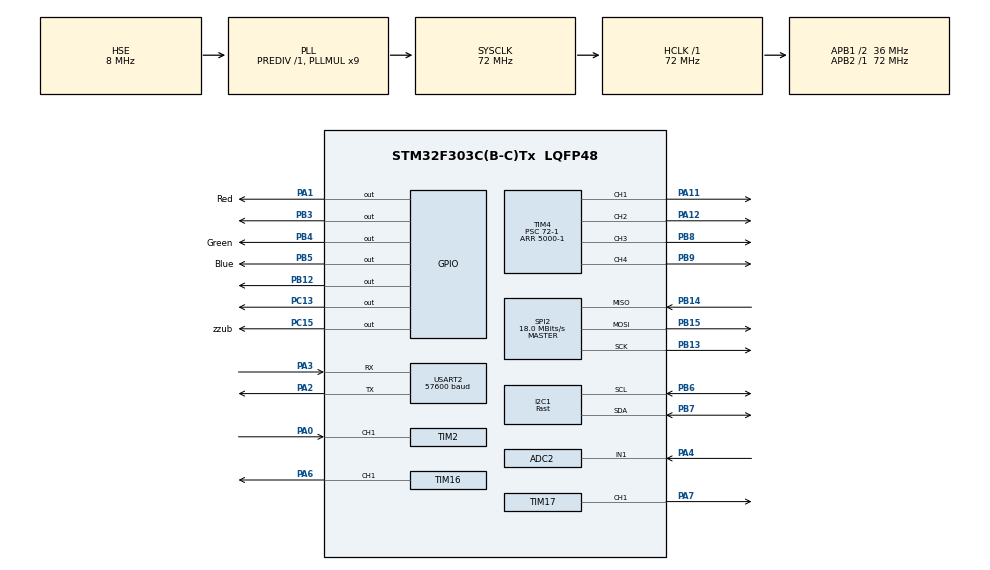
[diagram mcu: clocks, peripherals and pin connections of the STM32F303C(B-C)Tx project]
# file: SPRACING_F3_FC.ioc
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ADC2.Channel-0\#ChannelRegularConversion=ADC_CHANNEL_1
ADC2.ClockPrescaler=ADC_CLOCK_SYNC_PCLK_DIV4
ADC2.NbrOfConversion=1
ADC2.NbrOfConversionFlag=1
ADC2.Offset-0\#ChannelRegularConversion=0
ADC2.OffsetNumber-0\#ChannelRegularConversion=ADC_OFFSET_NONE
ADC2.Rank-0\#ChannelRegularConversion=1
ADC2.SamplingTime-0\#ChannelRegularConversion=ADC_SAMPLETIME_1CYCLE_5
I2C1.I2C_Speed_Mode=I2C_Fast
I2C1.Timing=0x0000020B
Mcu.Family=STM32F3
Mcu.Name=STM32F303C(B-C)Tx
Mcu.Package=LQFP48
NVIC.PriorityGroup=NVIC_PRIORITYGROUP_4
NVIC.TIM2_IRQn=true\:0\:0\:false\:false\:true\:true\:true
PA0.Signal=S_TIM2_CH1_ETR
PA1.GPIO_Label=Red
PA1.Signal=GPIO_Output
PA11.Signal=S_TIM4_CH1
PA12.Signal=S_TIM4_CH2
PA13.Mode=Serial_Wire
PA13.Signal=SYS_JTMS-SWDIO
PA14.Mode=Serial_Wire
PA14.Signal=SYS_JTCK-SWCLK
PA2.Mode=Asynchronous
PA2.Signal=USART2_TX
PA3.Mode=Asynchronous
PA3.Signal=USART2_RX
PA4.Mode=IN1-Single-Ended
PA4.Signal=ADC2_IN1
PA6.Signal=S_TIM16_CH1
PA7.Signal=S_TIM17_CH1
PB12.Signal=GPIO_Output
PB13.Mode=Full_Duplex_Master
PB13.Signal=SPI2_SCK
PB14.Mode=Full_Duplex_Master
PB14.Signal=SPI2_MISO
PB15.Mode=Full_Duplex_Master
PB15.Signal=SPI2_MOSI
PB3.PinState=GPIO_PIN_SET
PB3.Signal=GPIO_Output
PB4.GPIO_Label=Green
PB4.Signal=GPIO_Output
PB5.GPIO_Label=Blue
PB5.Signal=GPIO_Output
PB6.Mode=I2C
PB6.Signal=I2C1_SCL
PB7.Mode=I2C
PB7.Signal=I2C1_SDA
PB8.Signal=S_TIM4_CH3
PB9.Signal=S_TIM4_CH4
PC13.Signal=GPIO_Output
PC15-OSC32_OUT.GPIO_Label=zzub
PC15-OSC32_OUT.GPIO_ModeDefaultOutputPP=GPIO_MODE_OUTPUT_PP
PC15-OSC32_OUT.GPIO_PuPd=GPIO_NOPULL
PC15-OSC32_OUT.Signal=GPIO_Output
PF0-OSC_IN.Mode=HSE-External-Oscillator
PF0-OSC_IN.Signal=RCC_OSC_IN
PF1-OSC_OUT.Mode=HSE-External-Oscillator
PF1-OSC_OUT.Signal=RCC_OSC_OUT
ProjectManager.HeapSize=0x200
ProjectManager.StackSize=0x400
ProjectManager.TargetToolchain=STM32CubeIDE
RCC.AHBFreq_Value=72000000
RCC.APB1CLKDivider=RCC_HCLK_DIV2
RCC.APB1Freq_Value=36000000
RCC.APB1TimFreq_Value=72000000
RCC.APB2Freq_Value=72000000
RCC.APB2TimFreq_Value=72000000
RCC.CortexFreq_Value=72000000
RCC.HCLKFreq_Value=72000000
RCC.HSE_VALUE=8000000
RCC.HSI_VALUE=8000000
RCC.I2c2ClockSelection=RCC_I2C2CLKSOURCE_SYSCLK
RCC.LSE_VALUE=32768
RCC.PLLMUL=RCC_PLL_MUL9
RCC.PLLSourceVirtual=RCC_PLLSOURCE_HSE
RCC.SYSCLKFreq_VALUE=72000000
RCC.SYSCLKSourceVirtual=RCC_SYSCLKSOURCE_PLLCLK
RCC.USBFreq_Value=72000000
SH.S_TIM16_CH1.0=TIM16_CH1,Output Compare1 CH1
SH.S_TIM17_CH1.0=TIM17_CH1,Output Compare1 CH1
SH.S_TIM2_CH1_ETR.0=TIM2_CH1,Input_Capture1_from_TI1
SH.S_TIM4_CH1.0=TIM4_CH1,Output Compare1 CH1
SH.S_TIM4_CH2.0=TIM4_CH2,Output Compare2 CH2
SH.S_TIM4_CH3.0=TIM4_CH3,Output Compare3 CH3
SH.S_TIM4_CH4.0=TIM4_CH4,Output Compare4 CH4
SPI2.BaudRatePrescaler=SPI_BAUDRATEPRESCALER_2
SPI2.CRCCalculation=SPI_CRCCALCULATION_DISABLE
SPI2.CalculateBaudRate=18.0 MBits/s
SPI2.DataSize=SPI_DATASIZE_8BIT
SPI2.Direction=SPI_DIRECTION_2LINES
SPI2.Mode=SPI_MODE_MASTER
SPI2.NSSPMode=SPI_NSS_PULSE_DISABLE
SPI2.VirtualType=VM_MASTER
TIM16.AutoReloadPreload=TIM_AUTORELOAD_PRELOAD_ENABLE
TIM16.Channel=TIM_CHANNEL_1
TIM16.OC1Preload=ENABLE
TIM16.Period=5000-1
TIM16.Prescaler=72-1
TIM16.Pulse=1000
TIM17.AutoReloadPreload=TIM_AUTORELOAD_PRELOAD_ENABLE
TIM17.Channel=TIM_CHANNEL_1
TIM17.OC1Preload=ENABLE
TIM17.Period=5000-1
TIM17.Prescaler=72-1
TIM17.Pulse=1000
TIM2.Channel-Input_Capture1_from_TI1=TIM_CHANNEL_1
TIM2.ICFilter_CH1=10
TIM2.Period=0xffff-1
TIM2.Prescaler=72-1
TIM4.AutoReloadPreload=TIM_AUTORELOAD_PRELOAD_ENABLE
TIM4.Channel-Output\ Compare1\ CH1=TIM_CHANNEL_1
TIM4.Channel-Output\ Compare2\ CH2=TIM_CHANNEL_2
TIM4.Channel-Output\ Compare3\ CH3=TIM_CHANNEL_3
TIM4.Channel-Output\ Compare4\ CH4=TIM_CHANNEL_4
TIM4.OC1Preload=ENABLE
TIM4.OC2Preload=ENABLE
TIM4.OC3Preload=ENABLE
TIM4.OC4Preload=ENABLE
TIM4.Period=5000-1
TIM4.Prescaler=72-1
TIM4.Pulse-Output\ Compare1\ CH1=1000
TIM4.Pulse-Output\ Compare2\ CH2=1000
TIM4.Pulse-Output\ Compare3\ CH3=1000
TIM4.Pulse-Output\ Compare4\ CH4=1000
USART2.BaudRate=57600
USART2.VirtualMode-Asynchronous=VM_ASYNC
VP_TIM16_VS_ClockSourceINT.Mode=Enable_Timer
VP_TIM17_VS_ClockSourceINT.Mode=Enable_Timer
board=custom

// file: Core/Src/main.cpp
/* USER CODE BEGIN Header */
/**
 *
 *      Author: Dr. Safwan Al-Qadhi
 *      Email: saq.qadi@gmail.com
  ******************************************************************************
  * @file           : main.c
  * @brief          : Main program body
  ******************************************************************************
  * @attention
  *
  * <h2><center>&copy; Copyright (c) 2020 STMicroelectronics.
  * All rights reserved.</center></h2>
  *
  * This software component is licensed by ST under BSD 3-Clause license,
  * the "License"; You may not use this file except in compliance with the
  * License. You may obtain a copy of the License at:
  *                        opensource.org/licenses/BSD-3-Clause
  *
  ******************************************************************************
  */
/* USER CODE END Header */

#include "main.h"

/* USER CODE BEGIN Includes */

#include <math.h>
#include <arming.h>
#include "param_config.h"
#include "mpu6050.h"
#include "pid.h"
#include "angle_calculation.h"
#include "RCrate.h"
#include "IC_ISR.h"
#include "alarms.h"
#include "filter.h"

#include "w25qxx.h"
#include "w25qxxConf.h"

/* USER CODE END Includes */

/* USER CODE BEGIN PTD */

Pid Roll_PID (Roll_P, Roll_I, Roll_D, Max_roll);
Pid Pitch_PID (Pitch_P, Pitch_I, Pitch_D, Max_pitch);
Pid Yaw_PID (Yaw_P, Yaw_I, Yaw_D, Max_yaw);

RC_rate ROLL_SP(LEVEL_ROLL_P, MAX_ANGLE, RC_RATE);
RC_rate Pitch_SP(LEVEL_PITCH_P, MAX_ANGLE, RC_RATE);
RC_rate Yaw_SP(LEVEL_PITCH_P, MAX_ANGLE, RC_RATE);

filter filter_X(Gyro_cutoff_freq, 0.002);
filter filter_Y(Gyro_cutoff_freq, 0.002);
filter filter_Z(Gyro_cutoff_freq, 0.002);

filter filter_Dterm_X(Dterm_cutoff_freq, 0.002);
filter filter_Dterm_Y(Dterm_cutoff_freq, 0.002);
filter filter_Dterm_Z(Dterm_cutoff_freq, 0.002);

filter filter_RC_roll(RC_cutoff_freq, 0.002);
filter filter_RC_pitch(RC_cutoff_freq, 0.002);
filter filter_RC_yaw(RC_cutoff_freq, 0.002);

/* USER CODE END PTD */

/* USER CODE BEGIN PD */
#define DEG_TO_RAD      (M_PI / 180.0f)
#define RAD_TO_DEG      (180.0f / M_PI)

/* USER CODE END PD */

ADC_HandleTypeDef hadc2;

I2C_HandleTypeDef hi2c1;

//SPI_HandleTypeDef hspi2;

TIM_HandleTypeDef htim2;
TIM_HandleTypeDef htim4;
TIM_HandleTypeDef htim16;
TIM_HandleTypeDef htim17;

UART_HandleTypeDef huart2;

/* USER CODE BEGIN PV */

//FLASH_EraseInitTypeDef Flash_config;

/* USER CODE END PV */

void SystemClock_Config(void);
static void MX_GPIO_Init(void);
static void MX_TIM2_Init(void);
static void MX_TIM4_Init(void);
static void MX_TIM16_Init(void);
static void MX_TIM17_Init(void);
static void MX_USART2_UART_Init(void);
static void MX_I2C1_Init(void);
static void MX_ADC2_Init(void);
static void MX_SPI2_Init(void);
/* USER CODE BEGIN PFP */

#ifdef __GNUC__
  /* With GCC, small printf (option LD Linker->Libraries->Small printf
     set to 'Yes') calls __io_putchar() */
  #define PUTCHAR_PROTOTYPE int __io_putchar(int ch)
#else
  #define PUTCHAR_PROTOTYPE int fputc(int ch, FILE *f)
#endif /* __GNUC__ */

/* USER CODE END PFP */

/* USER CODE BEGIN 0 */

uint32_t cycles, S_cycle;
float Loop_time, Elapsed_time;

uint8_t flight_mode = 1, change_term = 0, change_term_signal = 0;
uint32_t Config_EEPROM [50];

float Roll_PID_out, Pitch_PID_out, Yaw_PID_out;
float Roll_setpoint, Pitch_setpoint, Yaw_setpoint;

float roll_P,  roll_I,  roll_D;
float pitch_P,  pitch_I,  pitch_D;
float yaw_P,  yaw_I;

float roll_P_part,  roll_I_part,  roll_D_part,  roll_gyro,  roll_error,   roll_gyro_f,  roll_Dgyro_f,  roll_Dterm, roll_PID_sum;
float pitch_P_part, pitch_I_part, pitch_D_part, pitch_gyro, pitch_error;
float yaw_P_part,   yaw_I_part,   yaw_D_part,   yaw_gyro,   yaw_error;

float roll_rc,  roll_RC_f,  pitch_rc;
float roll_angle_level, pitch_angle_level;
float Level_P, RC_rate_scale, max_level_angle;

float acc_x_uf, acc_x_pt1, acc_x_bq;  // to the test the filters
float acc_y_uf, acc_y_pt1, acc_y_bq;  // to the test the filters
int32_t acc_x_v[7] ={0, 0, 0, 0, 0, 0, 0};
float acc_x_median;
int32_t acc_y_v[7] ={0, 0, 0, 0, 0, 0, 0};
float acc_y_median;

uint16_t esc_1 = 1000, esc_2 = 1000, esc_3 = 1000, esc_4 = 1000;
uint16_t throttle;

uint16_t Batt_volt, Batt_arr[5], Batt_av;
uint8_t Batt_L_count = 0, esc_counter = 0, flash_read_counter = 0;
int8_t  Batt_av_count = -1;

uint16_t PID_change_counter;

uint8_t Txdata;
uint8_t Rxdata;

uint32_t    Address;

/* USER CODE END 0 */

int main(void)
{

  /* MCU Configuration--------------------------------------------------------*/

  /* Reset of all peripherals, Initializes the Flash interface and the Systick. */
  HAL_Init();

  /* Configure the system clock */
  SystemClock_Config();

  /* Initialize all configured peripherals */
  MX_GPIO_Init();
  MX_TIM2_Init();
  MX_TIM4_Init();
  MX_TIM16_Init();
  MX_TIM17_Init();
  MX_USART2_UART_Init();
  MX_I2C1_Init();
  MX_ADC2_Init();
  MX_SPI2_Init();
  /* USER CODE BEGIN 2 */

  RCC->AHBENR |=  ( RCC_AHBENR_ADC12EN );

  HAL_GPIO_WritePin(Red_GPIO_Port, Red_Pin, GPIO_PIN_SET);

  HAL_TIM_IC_Start_IT(&htim2, TIM_CHANNEL_1); // PPM
  HAL_Delay(50);

  while (throttle_ch() < 990  || roll_ch() < 990  || pitch_ch() < 990  || yaw_ch() < 990 ||
	     throttle_ch() > 2010 || roll_ch() > 2010 || pitch_ch() > 2010 || yaw_ch() > 2010)  {
	error_signal(4);
    HAL_Delay(2);
  }

  PWM_ESC_tim_setup();
  HAL_Delay(50);
  HAL_TIM_OC_Start(&htim16, TIM_CHANNEL_1);
  HAL_TIM_OC_Start(&htim17, TIM_CHANNEL_1);
  HAL_Delay(50);

  if (throttle_ch() < 990  || roll_ch() < 990  || pitch_ch() < 990  || yaw_ch() < 990 ||  // in case of failsafe it should be modified otherwise motors will be off on air
      throttle_ch() > 2010 || roll_ch() > 2010 || pitch_ch() > 2010 || yaw_ch() > 2010) {
  	esc_1 = 1000;
  	esc_2 = 1000;
  	esc_3 = 1000;
  	esc_4 = 1000;
  }

  while (HAL_I2C_IsDeviceReady(&hi2c1, 208, 1 , 10) != HAL_OK) {
	error_signal(2);
	HAL_Delay(2);
  }

  HAL_Delay(2000);

//  MPU6050_confirm();
  MPU6050_Init();
  HAL_Delay(50);
  MPU6050_calib_Gyro();
//  MPU6050_calib_Accel();

  // ----------- save calibration data to EEPROM ------

//  W25qxx_Init();
//  Address = 0x000000;
//  W25qxx_EraseSector(Address);

	CoreDebug->DEMCR |= CoreDebug_DEMCR_TRCENA_Msk;
	DWT->CYCCNT = 0;
	DWT->CTRL |= DWT_CTRL_CYCCNTENA_Msk;

  /* USER CODE END 2 */

  /* Infinite loop */
  while (1)
  {

    /* USER CODE BEGIN 3 */

	S_cycle = DWT->CYCCNT;

// --------------------------------------------------- calibration --------------------------------------------------

//	  if (throttle_ch() > 1980 && yaw_ch() < 1030 && roll_ch() < 1030 && pitch_ch() > 1980){
//
//		    MPU6050_calib_Gyro();
//		    MPU6050_calib_Accel();
//	  }

// --------------------------------------------------- READ BATTERY --------------------------------------------------

//	  Txdata = (uint8_t)(get_roll_angle() + 55 );

	Batt_L_count++;
	if (Batt_L_count == 125){

	HAL_ADC_Start(&hadc2);
	if (HAL_ADC_PollForConversion(&hadc2, 5) == HAL_OK){

	Batt_volt = HAL_ADC_GetValue(&hadc2) / 1.087;
	}
	HAL_ADC_Stop(&hadc2);

	Batt_av_count ++;
	Batt_arr[Batt_av_count] = Batt_volt;
	Batt_av = (Batt_arr[0]+Batt_arr[1]+Batt_arr[2]+Batt_arr[3]+Batt_arr[4])/5;

//      W25qxx_WriteByte(Txdata, Address);
//	    W25qxx_ReadByte(&Rxdata, Address);
//      Address+=8;

	if(Batt_av_count > 3)Batt_av_count = -1;

	Batt_L_count =0;
	  }

// ------------------------------------------- flash  ----------------------------

//for the flash data call the structure w25qxx.feature. the delays in the inti function has to be keept.

// --------------------------------------------------- SET PARAMETERS --------------------------------------------------

	       if (F_mode_ch() >= 1750)                      flight_mode = 1;
	  else if (F_mode_ch() < 1750 && F_mode_ch() >= 1350)flight_mode = 2;
	  else if (F_mode_ch() < 1350)                       flight_mode = 3;

	  PID_change_counter++;
	  if (PID_change_counter == 500){
		  PID_change_counter = 0;

	       if (PID_select_ch() > 1250 && PID_select_ch() <= 1500)change_term = 1;
	  else if (PID_select_ch() > 1500 && PID_select_ch() <= 1830)change_term = 2;
	  else if (PID_select_ch() > 1830)change_term = 3;
	  else change_term = 0;
	   change_term_signal = 0;

	if (PID_change_ch() > 1700){  // increase PID value
	    if (change_term != 0)change_term_signal = 1;

		if (change_term == 1){  // only P value up
			if (flight_mode == 1){  // gyro mode
				Roll_PID.setP(Roll_PID.getP()   + 0.01);    if (Roll_PID.getP() > 5.0)Roll_PID.setP(5.0);
				Pitch_PID.setP(Pitch_PID.getP() + 0.01);    if (Pitch_PID.getP() > 3.0)Pitch_PID.setP(3.0);
				// Yaw_PID.setP(Yaw_PID.getP()     + 0.01);    if (Yaw_PID.getP() > 3.0)Yaw_PID.setP(3.0);
								 }

			if (flight_mode == 2){  // level mode
				ROLL_SP.set_Level_P(ROLL_SP.get_Level_P()   + 0.01);    if (ROLL_SP.get_Level_P() > 2.0)ROLL_SP.set_Level_P(2.0);
				Pitch_SP.set_Level_P(Pitch_SP.get_Level_P() + 0.01);    if (Pitch_SP.get_Level_P() > 2.6)Pitch_SP.set_Level_P(2.6);
		    	     	 	 	 						 }
		                           }
		else if (change_term == 2){ // only I value up
			if (flight_mode == 1){  // gyro mode
				Roll_PID.setI(Roll_PID.getI()   + 0.1); if (Roll_PID.getI()  > 10.0)Roll_PID.setI(10.0);
				Pitch_PID.setI(Pitch_PID.getI() + 0.1); if (Pitch_PID.getI() > 10.0)Pitch_PID.setI(10.0);
				// Yaw_PID.setI(Yaw_PID.getI()     + 0.1); if (Yaw_PID.getI()   > 10.0)Yaw_PID.setI(10.0);
			 	 	 	 	 	 						 }

		if (flight_mode == 2){  // level mode
				ROLL_SP.set_MaxAngle(ROLL_SP.get_MaxAngle()   + 1.0f);    if (ROLL_SP.get_MaxAngle() > 30.0)ROLL_SP.set_MaxAngle(30.0);
				Pitch_SP.set_MaxAngle(Pitch_SP.get_MaxAngle() + 1.0f);    if (Pitch_SP.get_MaxAngle() > 30.0)Pitch_SP.set_MaxAngle(30.0);
			 	 						 	 	 	 	 }
		                           }
		else if (change_term == 3){ // only D value up
			if (flight_mode == 1){  // gyro mode
				Roll_PID.setD(Roll_PID.getD()   + 0.1);    if (Roll_PID.getD() > 10.0)Roll_PID.setD(10.0);
				Pitch_PID.setD(Pitch_PID.getD() + 0.1);    if (Pitch_PID.getD() > 10.0)Pitch_PID.setD(10.0);
			 	 	 	 	 	 						 }

		if (flight_mode == 2){  // level mode
				ROLL_SP.set_RC_rate(ROLL_SP.get_RC_rate()   + 0.1f);    if (ROLL_SP.get_RC_rate()  > 2.0)ROLL_SP.set_RC_rate(2.0);
				Pitch_SP.set_RC_rate(Pitch_SP.get_RC_rate() + 0.1f);    if (Pitch_SP.get_RC_rate() > 2.0)Pitch_SP.set_RC_rate(2.0);
			 	 	 	 	 	 						 }
		                           }
	                             }

	else if (PID_change_ch() < 1300){ // increase PID value
		if (change_term != 0)change_term_signal = 2;

		if (change_term == 1){  // only P value down
			if (flight_mode == 1){  // gyro mode
				Roll_PID.setP(Roll_PID.getP()   - 0.01);    if (Roll_PID.getP() < 0.2)Roll_PID.setP(0.1);
				Pitch_PID.setP(Pitch_PID.getP() - 0.01);    if (Pitch_PID.getP() < 0.2)Pitch_PID.setP(0.1);
				// Yaw_PID.setP(Yaw_PID.getP()     - 0.01);    if (Yaw_PID.getP() < 0.2)Yaw_PID.setP(0.1);
	        	  	  	  	  	    					 }

			if (flight_mode == 2){  // level mode
				ROLL_SP.set_Level_P(ROLL_SP.get_Level_P()   - 0.01);    if (ROLL_SP.get_Level_P()  < 0.2)ROLL_SP.set_Level_P(0.1);
				Pitch_SP.set_Level_P(Pitch_SP.get_Level_P() - 0.01);    if (Pitch_SP.get_Level_P() < 0.2)Pitch_SP.set_Level_P(0.1);
	        	  	  	  	  	    					 }
	                               }
		else if (change_term == 2){  // only I value down
			if (flight_mode == 1){  // gyro mode
				Roll_PID.setI(Roll_PID.getI()   - 0.1); if (Roll_PID.getI()  < 0.2)Roll_PID.setI(0.1);
				Pitch_PID.setI(Pitch_PID.getI() - 0.1); if (Pitch_PID.getI() < 0.2)Pitch_PID.setI(0.1);
				// Yaw_PID.setI(Yaw_PID.getI()     - 0.1); if (Yaw_PID.getI()   < 0.2)Yaw_PID.setI(0.1);
	    	 	 	 	 	 	 						 }

			if (flight_mode == 2){  // level mode
				ROLL_SP.set_MaxAngle(ROLL_SP.get_MaxAngle()   - 1.0f);    if (ROLL_SP.get_MaxAngle() < 6.0)ROLL_SP.set_MaxAngle(5.0);
				Pitch_SP.set_MaxAngle(Pitch_SP.get_MaxAngle() - 1.0f);    if (Pitch_SP.get_MaxAngle() < 6.0)Pitch_SP.set_MaxAngle(5.0);
	    	 	 	 	 	 	 						 }
	                               }
	     else if (change_term == 3){  // only D value down
	    	 	 	 	 	 	 	if (flight_mode == 1){  // gyro mode
				Roll_PID.setD(Roll_PID.getD()   - 0.1);    if (Roll_PID.getD() < 0.2)Roll_PID.setD(0.2);
				Pitch_PID.setD(Pitch_PID.getD() - 0.1);    if (Pitch_PID.getD() < 0.2)Pitch_PID.setD(0.2);
	    	 	 	 	 	 	 						 }

			if (flight_mode == 2){  // level mode
				ROLL_SP.set_RC_rate(ROLL_SP.get_RC_rate()   - 0.1f);    if (ROLL_SP.get_RC_rate()  < 0.5)ROLL_SP.set_RC_rate(0.4);
				Pitch_SP.set_RC_rate(Pitch_SP.get_RC_rate() - 0.1f);    if (Pitch_SP.get_RC_rate() < 0.5)Pitch_SP.set_RC_rate(0.4);
	 	 	 						               	    		 }
	                             }
	  }

	  }

	  if (change_term_signal == 1 ){
		  buzzer_signal(1, 100);
	  }
	  else if (change_term_signal == 2 ){
		  buzzer_signal(2, 100);
	  }

// --------------------------------------------------- FLIGHT CONTROLL --------------------------------------------------

	 	  MPU6050_Read_Gyro();

		  if (flight_mode == 2 || flight_mode == 3) {
		  MPU6050_Read_Accel();
		  calc_angles (Loop_time);
		   }

	 	 if (flight_mode == 1) {

			Roll_setpoint = ROLL_SP.RC_rate_manual(roll_ch())    * ROLL_SP.get_RC_rate();
			Pitch_setpoint = Pitch_SP.RC_rate_manual(pitch_ch()) * Pitch_SP.get_RC_rate();
			if (throttle_ch() > 1050 ){
			  Yaw_setpoint = Yaw_SP.RC_rate_manual(yaw_ch())       * Yaw_SP.get_RC_rate();
			} else Yaw_setpoint = 0;

			 flight_mode_signal(1);
	 	 }

	 	 if (flight_mode == 2) {

			roll_rc = ROLL_SP.RC_rate_manual(roll_ch());
			pitch_rc= Pitch_SP.RC_rate_manual(pitch_ch());

			roll_angle_level  =   get_roll_angle()  * ROLL_SP.get_MaxAngle(); // the higher the max angle value, the lower he final angle during flight
			pitch_angle_level = - get_pitch_angle() * Pitch_SP.get_MaxAngle();

			Roll_setpoint  = (roll_rc  - roll_angle_level)  * ROLL_SP.get_Level_P(); // levle P gain
			  Pitch_setpoint = (pitch_rc - pitch_angle_level) * Pitch_SP.get_Level_P();

			  if (throttle_ch() > 1050 ){
			  Yaw_setpoint = Yaw_SP.RC_rate_manual(yaw_ch());
			  } else Yaw_setpoint = 0;

			flight_mode_signal(2);

	 	 }

	 	 if (flight_mode == 3) {

		      roll_rc = ROLL_SP.RC_rate_manual(roll_ch());
		      pitch_rc= Pitch_SP.RC_rate_manual(pitch_ch());

		      roll_angle_level  =   get_roll_angle_half()   * ROLL_SP.get_MaxAngle();
		      pitch_angle_level = - get_pitch_angle_half()  * Pitch_SP.get_MaxAngle();

		 	  Roll_setpoint  = (roll_rc  - roll_angle_level)  * ROLL_SP.get_Level_P();
		 	  Pitch_setpoint = (pitch_rc - pitch_angle_level) * Pitch_SP.get_Level_P();

		 	  if (throttle_ch() > 1050 ){
		 	  Yaw_setpoint = Yaw_SP.RC_rate_manual(yaw_ch());
		 	  } else Yaw_setpoint = 0;

		     flight_mode_signal(3);
	 	 }

		Roll_PID_out  = Roll_PID.updatePID( filter_RC_roll.Biquad_filter(Roll_setpoint),   filter_X.Pt1_filter(gyro_X()), filter_Dterm_X.Biquad_filter(gyro_X()), Loop_time, flight_mode);
		Pitch_PID_out = Pitch_PID.updatePID(filter_RC_pitch.Biquad_filter(Pitch_setpoint), filter_Y.Pt1_filter(gyro_Y()), filter_Dterm_Y.Biquad_filter(gyro_Y()), Loop_time, flight_mode);
		Yaw_PID_out   = Yaw_PID.updatePID(  filter_RC_yaw.Biquad_filter(Yaw_setpoint),     filter_Z.Pt1_filter(-gyro_Z()),filter_Dterm_Z.Biquad_filter(-gyro_Z()),Loop_time, flight_mode);

// --------------------------------------------------- DEBUG --------------------------------------------------

		roll_P = Roll_PID.getP();
		roll_I = Roll_PID.getI();
		roll_D = Roll_PID.getD();

		pitch_P = Pitch_PID.getP();
		pitch_I = Pitch_PID.getI();
		pitch_D = Pitch_PID.getD();

		yaw_P = Yaw_PID.getP();
		yaw_I = Yaw_PID.getI();

		roll_gyro   =  gyro_X();
		roll_gyro_f =  filter_X.Pt1_filter(gyro_X());
		roll_Dgyro_f = filter_Dterm_X.Biquad_filter(gyro_X());
		roll_RC_f   =  filter_RC_roll.Biquad_filter(Roll_setpoint);

		roll_error  =  Roll_PID.getError();
		roll_P_part =  Roll_PID.getP_part();
		roll_I_part =  Roll_PID.getI_part();
		roll_D_part =  Roll_PID.getD_part();
		roll_Dterm  =  Roll_PID.getDterm();
		roll_PID_sum = Roll_PID.get_PIDsum();

		Level_P         = ROLL_SP.get_Level_P();
		max_level_angle = ROLL_SP.get_MaxAngle();
		RC_rate_scale   = ROLL_SP.get_RC_rate();

// --------------------------------------------------- BATTERY WARRNING --------------------------------------------------

	         if (Batt_av < 1440 && Batt_av > 1200)
	        	 {
	        	 error_signal(1);
	    	 	 buzzer_signal(1, 500);
	        	 }
	         else {
	        	 error_signal(0);
	    	 	 buzzer_signal(0, 500);

//	        	 HAL_GPIO_WritePin(GPIOC, zzub_Pin, GPIO_PIN_RESET);
//	       	     HAL_GPIO_WritePin(Red_GPIO_Port, Red_Pin, GPIO_PIN_RESET);
	            }

// --------------------------------------------------- MOTOR and ESC control --------------------------------------------------

	 	     control_motors(idle_speed);

	         if (armed_s() == 1){

	 	        throttle = throttle_ch() + start_speed();

		 	    if (throttle > 1860)throttle = 1860;

		 	      esc_1 = throttle - Pitch_PID_out + Roll_PID_out - Yaw_PID_out;        //L_F
		 	      esc_2 = throttle + Pitch_PID_out + Roll_PID_out + Yaw_PID_out;        //L_B
		 	      esc_3 = throttle + Pitch_PID_out - Roll_PID_out - Yaw_PID_out;        //R_B
		 	      esc_4 = throttle - Pitch_PID_out - Roll_PID_out + Yaw_PID_out;        //R_F

			 	if (Batt_av < 1700 && Batt_av > 1200) {
			 	  esc_1 += (1600 - Batt_av) * battery_compensation;
			 	  esc_2 += (1600 - Batt_av) * battery_compensation;
			 	  esc_3 += (1600 - Batt_av) * battery_compensation;
			 	  esc_4 += (1600 - Batt_av) * battery_compensation;
			 	     }

		 	    if (esc_1 > 2000)esc_1 = 2000;
		 	    if (esc_2 > 2000)esc_2 = 2000;
		 	    if (esc_3 > 2000)esc_3 = 2000;
		 	    if (esc_4 > 2000)esc_4 = 2000;

		 	    if (esc_1 < idle_speed)esc_1 = idle_speed;
		 	    if (esc_2 < idle_speed)esc_2 = idle_speed;
		 	    if (esc_3 < idle_speed)esc_3 = idle_speed;
		 	    if (esc_4 < idle_speed)esc_4 = idle_speed;

	         }
	         else {

	         	Roll_PID.resetPID();
	         	Pitch_PID.resetPID();
	         	Yaw_PID.resetPID();

		 	      esc_1 = 1000;
		 	      esc_2 = 1000;
		 	      esc_3 = 1000;
		 	      esc_4 = 1000;
	         }

//	          esc_counter++;
//	          if (esc_counter == 2){

	           TIM16->CCR1 = esc_1;  // modulating the pulse width
	           TIM17->CCR1 = esc_2;
	           TIM4->CCR1  = esc_3;  // modulating the pulse width
	           TIM4->CCR2  = esc_4;

	           TIM4->CNT  = 5000 - 1; // ARR   // 400 Hz 2 ms pulse high and 0.5ms pulse low*/
	           TIM16->CNT = 5000 - 1;
	           TIM17->CNT = 5000 - 1;

//	           esc_counter = 0;
//	        	  }

	Elapsed_time = (float) (DWT->CYCCNT - S_cycle) / 72000000.0;
	while((DWT->CYCCNT - S_cycle) < 150000); // 150.000  480 Hz   - for 1khz = 1.045ms
	Loop_time = (float) (DWT->CYCCNT - S_cycle ) / 72000000.0;

  }
  /* USER CODE END 3 */
}

void SystemClock_Config(void)
{
  RCC_OscInitTypeDef RCC_OscInitStruct = {0};
  RCC_ClkInitTypeDef RCC_ClkInitStruct = {0};
  RCC_PeriphCLKInitTypeDef PeriphClkInit = {0};

  /** Initializes the CPU, AHB and APB busses clocks
  */
  RCC_OscInitStruct.OscillatorType = RCC_OSCILLATORTYPE_HSI|RCC_OSCILLATORTYPE_HSE;
  RCC_OscInitStruct.HSEState = RCC_HSE_ON;
  RCC_OscInitStruct.HSEPredivValue = RCC_HSE_PREDIV_DIV1;
  RCC_OscInitStruct.HSIState = RCC_HSI_ON;
  RCC_OscInitStruct.HSICalibrationValue = RCC_HSICALIBRATION_DEFAULT;
  RCC_OscInitStruct.PLL.PLLState = RCC_PLL_ON;
  RCC_OscInitStruct.PLL.PLLSource = RCC_PLLSOURCE_HSE;
  RCC_OscInitStruct.PLL.PLLMUL = RCC_PLL_MUL9;
  if (HAL_RCC_OscConfig(&RCC_OscInitStruct) != HAL_OK)
  {
    Error_Handler();
  }
  /** Initializes the CPU, AHB and APB busses clocks
  */
  RCC_ClkInitStruct.ClockType = RCC_CLOCKTYPE_HCLK|RCC_CLOCKTYPE_SYSCLK
                              |RCC_CLOCKTYPE_PCLK1|RCC_CLOCKTYPE_PCLK2;
  RCC_ClkInitStruct.SYSCLKSource = RCC_SYSCLKSOURCE_PLLCLK;
  RCC_ClkInitStruct.AHBCLKDivider = RCC_SYSCLK_DIV1;
  RCC_ClkInitStruct.APB1CLKDivider = RCC_HCLK_DIV2;
  RCC_ClkInitStruct.APB2CLKDivider = RCC_HCLK_DIV1;

  if (HAL_RCC_ClockConfig(&RCC_ClkInitStruct, FLASH_LATENCY_2) != HAL_OK)
  {
    Error_Handler();
  }
  PeriphClkInit.PeriphClockSelection = RCC_PERIPHCLK_USART2|RCC_PERIPHCLK_I2C1;
  PeriphClkInit.Usart2ClockSelection = RCC_USART2CLKSOURCE_PCLK1;
  PeriphClkInit.I2c1ClockSelection = RCC_I2C1CLKSOURCE_HSI;
  if (HAL_RCCEx_PeriphCLKConfig(&PeriphClkInit) != HAL_OK)
  {
    Error_Handler();
  }
}

static void MX_ADC2_Init(void)
{

  ADC_ChannelConfTypeDef sConfig = {0};

  /** Common config
  */
  hadc2.Instance = ADC2;
  hadc2.Init.ClockPrescaler = ADC_CLOCK_SYNC_PCLK_DIV4;
  hadc2.Init.Resolution = ADC_RESOLUTION_12B;
  hadc2.Init.ScanConvMode = ADC_SCAN_DISABLE;
  hadc2.Init.ContinuousConvMode = DISABLE;
  hadc2.Init.DiscontinuousConvMode = DISABLE;
  hadc2.Init.ExternalTrigConvEdge = ADC_EXTERNALTRIGCONVEDGE_NONE;
  hadc2.Init.ExternalTrigConv = ADC_SOFTWARE_START;
  hadc2.Init.DataAlign = ADC_DATAALIGN_RIGHT;
  hadc2.Init.NbrOfConversion = 1;
  hadc2.Init.DMAContinuousRequests = DISABLE;
  hadc2.Init.EOCSelection = ADC_EOC_SINGLE_CONV;
  hadc2.Init.LowPowerAutoWait = DISABLE;
  hadc2.Init.Overrun = ADC_OVR_DATA_OVERWRITTEN;
  if (HAL_ADC_Init(&hadc2) != HAL_OK)
  {
    Error_Handler();
  }
  /** Configure Regular Channel
  */
  sConfig.Channel = ADC_CHANNEL_1;
  sConfig.Rank = ADC_REGULAR_RANK_1;
  sConfig.SingleDiff = ADC_SINGLE_ENDED;
  sConfig.SamplingTime = ADC_SAMPLETIME_1CYCLE_5;
  sConfig.OffsetNumber = ADC_OFFSET_NONE;
  sConfig.Offset = 0;
  if (HAL_ADC_ConfigChannel(&hadc2, &sConfig) != HAL_OK)
  {
    Error_Handler();
  }

}

static void MX_I2C1_Init(void)
{

  hi2c1.Instance = I2C1;
  hi2c1.Init.Timing = 0x0000020B;
  hi2c1.Init.OwnAddress1 = 0;
  hi2c1.Init.AddressingMode = I2C_ADDRESSINGMODE_7BIT;
  hi2c1.Init.DualAddressMode = I2C_DUALADDRESS_DISABLE;
  hi2c1.Init.OwnAddress2 = 0;
  hi2c1.Init.OwnAddress2Masks = I2C_OA2_NOMASK;
  hi2c1.Init.GeneralCallMode = I2C_GENERALCALL_DISABLE;
  hi2c1.Init.NoStretchMode = I2C_NOSTRETCH_DISABLE;
  if (HAL_I2C_Init(&hi2c1) != HAL_OK)
  {
    Error_Handler();
  }
  /** Configure Analogue filter
  */
  if (HAL_I2CEx_ConfigAnalogFilter(&hi2c1, I2C_ANALOGFILTER_ENABLE) != HAL_OK)
  {
    Error_Handler();
  }
  /** Configure Digital filter
  */
  if (HAL_I2CEx_ConfigDigitalFilter(&hi2c1, 0) != HAL_OK)
  {
    Error_Handler();
  }

}

static void MX_SPI2_Init(void)
{

  /* SPI2 parameter configuration*/
  hspi2.Instance = SPI2;
  hspi2.Init.Mode = SPI_MODE_MASTER;
  hspi2.Init.Direction = SPI_DIRECTION_2LINES;
  hspi2.Init.DataSize = SPI_DATASIZE_8BIT;
  hspi2.Init.CLKPolarity = SPI_POLARITY_LOW;
  hspi2.Init.CLKPhase = SPI_PHASE_1EDGE;
  hspi2.Init.NSS = SPI_NSS_SOFT;
  hspi2.Init.BaudRatePrescaler = SPI_BAUDRATEPRESCALER_2;
  hspi2.Init.FirstBit = SPI_FIRSTBIT_MSB;
  hspi2.Init.TIMode = SPI_TIMODE_DISABLE;
  hspi2.Init.CRCCalculation = SPI_CRCCALCULATION_DISABLE;
  hspi2.Init.CRCPolynomial = 7;
  hspi2.Init.CRCLength = SPI_CRC_LENGTH_DATASIZE;
  hspi2.Init.NSSPMode = SPI_NSS_PULSE_DISABLE;
  if (HAL_SPI_Init(&hspi2) != HAL_OK)
  {
    Error_Handler();
  }

}

static void MX_TIM2_Init(void)
{

  TIM_MasterConfigTypeDef sMasterConfig = {0};
  TIM_IC_InitTypeDef sConfigIC = {0};

  htim2.Instance = TIM2;
  htim2.Init.Prescaler = 72-1;
  htim2.Init.CounterMode = TIM_COUNTERMODE_UP;
  htim2.Init.Period = 0xffff-1;
  htim2.Init.ClockDivision = TIM_CLOCKDIVISION_DIV1;
  htim2.Init.AutoReloadPreload = TIM_AUTORELOAD_PRELOAD_DISABLE;
  if (HAL_TIM_IC_Init(&htim2) != HAL_OK)
  {
    Error_Handler();
  }
  sMasterConfig.MasterOutputTrigger = TIM_TRGO_RESET;
  sMasterConfig.MasterSlaveMode = TIM_MASTERSLAVEMODE_DISABLE;
  if (HAL_TIMEx_MasterConfigSynchronization(&htim2, &sMasterConfig) != HAL_OK)
  {
    Error_Handler();
  }
  sConfigIC.ICPolarity = TIM_INPUTCHANNELPOLARITY_RISING;
  sConfigIC.ICSelection = TIM_ICSELECTION_DIRECTTI;
  sConfigIC.ICPrescaler = TIM_ICPSC_DIV1;
  sConfigIC.ICFilter = 10;
  if (HAL_TIM_IC_ConfigChannel(&htim2, &sConfigIC, TIM_CHANNEL_1) != HAL_OK)
  {
    Error_Handler();
  }

}

static void MX_TIM4_Init(void)
{

  TIM_MasterConfigTypeDef sMasterConfig = {0};
  TIM_OC_InitTypeDef sConfigOC = {0};

  htim4.Instance = TIM4;
  htim4.Init.Prescaler = 72-1;
  htim4.Init.CounterMode = TIM_COUNTERMODE_UP;
  htim4.Init.Period = 5000-1;
  htim4.Init.ClockDivision = TIM_CLOCKDIVISION_DIV1;
  htim4.Init.AutoReloadPreload = TIM_AUTORELOAD_PRELOAD_ENABLE;
  if (HAL_TIM_OC_Init(&htim4) != HAL_OK)
  {
    Error_Handler();
  }
  sMasterConfig.MasterOutputTrigger = TIM_TRGO_RESET;
  sMasterConfig.MasterSlaveMode = TIM_MASTERSLAVEMODE_DISABLE;
  if (HAL_TIMEx_MasterConfigSynchronization(&htim4, &sMasterConfig) != HAL_OK)
  {
    Error_Handler();
  }
  sConfigOC.OCMode = TIM_OCMODE_TIMING;
  sConfigOC.Pulse = 1000;
  sConfigOC.OCPolarity = TIM_OCPOLARITY_HIGH;
  sConfigOC.OCFastMode = TIM_OCFAST_DISABLE;
  if (HAL_TIM_OC_ConfigChannel(&htim4, &sConfigOC, TIM_CHANNEL_1) != HAL_OK)
  {
    Error_Handler();
  }
  __HAL_TIM_ENABLE_OCxPRELOAD(&htim4, TIM_CHANNEL_1);
  if (HAL_TIM_OC_ConfigChannel(&htim4, &sConfigOC, TIM_CHANNEL_2) != HAL_OK)
  {
    Error_Handler();
  }
  __HAL_TIM_ENABLE_OCxPRELOAD(&htim4, TIM_CHANNEL_2);
  if (HAL_TIM_OC_ConfigChannel(&htim4, &sConfigOC, TIM_CHANNEL_3) != HAL_OK)
  {
    Error_Handler();
  }
  __HAL_TIM_ENABLE_OCxPRELOAD(&htim4, TIM_CHANNEL_3);
  if (HAL_TIM_OC_ConfigChannel(&htim4, &sConfigOC, TIM_CHANNEL_4) != HAL_OK)
  {
    Error_Handler();
  }
  __HAL_TIM_ENABLE_OCxPRELOAD(&htim4, TIM_CHANNEL_4);
  HAL_TIM_MspPostInit(&htim4);

}

static void MX_TIM16_Init(void)
{

  TIM_OC_InitTypeDef sConfigOC = {0};
  TIM_BreakDeadTimeConfigTypeDef sBreakDeadTimeConfig = {0};

  htim16.Instance = TIM16;
  htim16.Init.Prescaler = 72-1;
  htim16.Init.CounterMode = TIM_COUNTERMODE_UP;
  htim16.Init.Period = 5000-1;
  htim16.Init.ClockDivision = TIM_CLOCKDIVISION_DIV1;
  htim16.Init.RepetitionCounter = 0;
  htim16.Init.AutoReloadPreload = TIM_AUTORELOAD_PRELOAD_ENABLE;
  if (HAL_TIM_Base_Init(&htim16) != HAL_OK)
  {
    Error_Handler();
  }
  if (HAL_TIM_OC_Init(&htim16) != HAL_OK)
  {
    Error_Handler();
  }
  sConfigOC.OCMode = TIM_OCMODE_TIMING;
  sConfigOC.Pulse = 1000;
  sConfigOC.OCPolarity = TIM_OCPOLARITY_HIGH;
  sConfigOC.OCNPolarity = TIM_OCNPOLARITY_HIGH;
  sConfigOC.OCFastMode = TIM_OCFAST_DISABLE;
  sConfigOC.OCIdleState = TIM_OCIDLESTATE_RESET;
  sConfigOC.OCNIdleState = TIM_OCNIDLESTATE_RESET;
  if (HAL_TIM_OC_ConfigChannel(&htim16, &sConfigOC, TIM_CHANNEL_1) != HAL_OK)
  {
    Error_Handler();
  }
  __HAL_TIM_ENABLE_OCxPRELOAD(&htim16, TIM_CHANNEL_1);
  sBreakDeadTimeConfig.OffStateRunMode = TIM_OSSR_DISABLE;
  sBreakDeadTimeConfig.OffStateIDLEMode = TIM_OSSI_DISABLE;
  sBreakDeadTimeConfig.LockLevel = TIM_LOCKLEVEL_OFF;
  sBreakDeadTimeConfig.DeadTime = 0;
  sBreakDeadTimeConfig.BreakState = TIM_BREAK_DISABLE;
  sBreakDeadTimeConfig.BreakPolarity = TIM_BREAKPOLARITY_HIGH;
  sBreakDeadTimeConfig.BreakFilter = 0;
  sBreakDeadTimeConfig.AutomaticOutput = TIM_AUTOMATICOUTPUT_DISABLE;
  if (HAL_TIMEx_ConfigBreakDeadTime(&htim16, &sBreakDeadTimeConfig) != HAL_OK)
  {
    Error_Handler();
  }
  HAL_TIM_MspPostInit(&htim16);

}

static void MX_TIM17_Init(void)
{

  TIM_OC_InitTypeDef sConfigOC = {0};
  TIM_BreakDeadTimeConfigTypeDef sBreakDeadTimeConfig = {0};

  htim17.Instance = TIM17;
  htim17.Init.Prescaler = 72-1;
  htim17.Init.CounterMode = TIM_COUNTERMODE_UP;
  htim17.Init.Period = 5000-1;
  htim17.Init.ClockDivision = TIM_CLOCKDIVISION_DIV1;
  htim17.Init.RepetitionCounter = 0;
  htim17.Init.AutoReloadPreload = TIM_AUTORELOAD_PRELOAD_ENABLE;
  if (HAL_TIM_Base_Init(&htim17) != HAL_OK)
  {
    Error_Handler();
  }
  if (HAL_TIM_OC_Init(&htim17) != HAL_OK)
  {
    Error_Handler();
  }
  sConfigOC.OCMode = TIM_OCMODE_TIMING;
  sConfigOC.Pulse = 1000;
  sConfigOC.OCPolarity = TIM_OCPOLARITY_HIGH;
  sConfigOC.OCNPolarity = TIM_OCNPOLARITY_HIGH;
  sConfigOC.OCFastMode = TIM_OCFAST_DISABLE;
  sConfigOC.OCIdleState = TIM_OCIDLESTATE_RESET;
  sConfigOC.OCNIdleState = TIM_OCNIDLESTATE_RESET;
  if (HAL_TIM_OC_ConfigChannel(&htim17, &sConfigOC, TIM_CHANNEL_1) != HAL_OK)
  {
    Error_Handler();
  }
  __HAL_TIM_ENABLE_OCxPRELOAD(&htim17, TIM_CHANNEL_1);
  sBreakDeadTimeConfig.OffStateRunMode = TIM_OSSR_DISABLE;
  sBreakDeadTimeConfig.OffStateIDLEMode = TIM_OSSI_DISABLE;
  sBreakDeadTimeConfig.LockLevel = TIM_LOCKLEVEL_OFF;
  sBreakDeadTimeConfig.DeadTime = 0;
  sBreakDeadTimeConfig.BreakState = TIM_BREAK_DISABLE;
  sBreakDeadTimeConfig.BreakPolarity = TIM_BREAKPOLARITY_HIGH;
  sBreakDeadTimeConfig.BreakFilter = 0;
  sBreakDeadTimeConfig.AutomaticOutput = TIM_AUTOMATICOUTPUT_DISABLE;
  if (HAL_TIMEx_ConfigBreakDeadTime(&htim17, &sBreakDeadTimeConfig) != HAL_OK)
  {
    Error_Handler();
  }
  HAL_TIM_MspPostInit(&htim17);

}

static void MX_USART2_UART_Init(void)
{

  huart2.Instance = USART2;
  huart2.Init.BaudRate = 57600;
  huart2.Init.WordLength = UART_WORDLENGTH_8B;
  huart2.Init.StopBits = UART_STOPBITS_1;
  huart2.Init.Parity = UART_PARITY_NONE;
  huart2.Init.Mode = UART_MODE_TX_RX;
  huart2.Init.HwFlowCtl = UART_HWCONTROL_NONE;
  huart2.Init.OverSampling = UART_OVERSAMPLING_16;
  huart2.Init.OneBitSampling = UART_ONE_BIT_SAMPLE_DISABLE;
  huart2.AdvancedInit.AdvFeatureInit = UART_ADVFEATURE_NO_INIT;
  if (HAL_UART_Init(&huart2) != HAL_OK)
  {
    Error_Handler();
  }

}

static void MX_GPIO_Init(void)
{
  GPIO_InitTypeDef GPIO_InitStruct = {0};

  /* GPIO Ports Clock Enable */
  __HAL_RCC_GPIOC_CLK_ENABLE();
  __HAL_RCC_GPIOF_CLK_ENABLE();
  __HAL_RCC_GPIOA_CLK_ENABLE();
  __HAL_RCC_GPIOB_CLK_ENABLE();

  /*Configure GPIO pin Output Level */
  HAL_GPIO_WritePin(GPIOC, GPIO_PIN_13|zzub_Pin, GPIO_PIN_RESET);

  /*Configure GPIO pin Output Level */
  HAL_GPIO_WritePin(Red_GPIO_Port, Red_Pin, GPIO_PIN_RESET);

  /*Configure GPIO pin Output Level */
  HAL_GPIO_WritePin(GPIOB, GPIO_PIN_12|Green_Pin|Blue_Pin, GPIO_PIN_RESET);

  /*Configure GPIO pin Output Level */
  HAL_GPIO_WritePin(GPIOB, GPIO_PIN_3, GPIO_PIN_SET);

  /*Configure GPIO pins : PC13 zzub_Pin */
  GPIO_InitStruct.Pin = GPIO_PIN_13|zzub_Pin;
  GPIO_InitStruct.Mode = GPIO_MODE_OUTPUT_PP;
  GPIO_InitStruct.Pull = GPIO_NOPULL;
  GPIO_InitStruct.Speed = GPIO_SPEED_FREQ_LOW;
  HAL_GPIO_Init(GPIOC, &GPIO_InitStruct);

  /*Configure GPIO pin : Red_Pin */
  GPIO_InitStruct.Pin = Red_Pin;
  GPIO_InitStruct.Mode = GPIO_MODE_OUTPUT_PP;
  GPIO_InitStruct.Pull = GPIO_NOPULL;
  GPIO_InitStruct.Speed = GPIO_SPEED_FREQ_LOW;
  HAL_GPIO_Init(Red_GPIO_Port, &GPIO_InitStruct);

  /*Configure GPIO pins : PB12 PB3 Green_Pin Blue_Pin */
  GPIO_InitStruct.Pin = GPIO_PIN_12|GPIO_PIN_3|Green_Pin|Blue_Pin;
  GPIO_InitStruct.Mode = GPIO_MODE_OUTPUT_PP;
  GPIO_InitStruct.Pull = GPIO_NOPULL;
  GPIO_InitStruct.Speed = GPIO_SPEED_FREQ_LOW;
  HAL_GPIO_Init(GPIOB, &GPIO_InitStruct);

}

/* USER CODE BEGIN 4 */
PUTCHAR_PROTOTYPE
{
  /* Place your implementation of fputc here */
  /* e.g. write a character to the EVAL_COM1 and Loop until the end of transmission */
  HAL_UART_Transmit(&huart2, (uint8_t *)&ch, 1, 0xFFFF);

  return ch;
}

int _write(int file, char *ptr, int len)
{
	int DataIdx;

	for (DataIdx = 0; DataIdx < len; DataIdx++)
	{
		__io_putchar(*ptr++);
	}
	return len;
}

	void writeToEEPROM (uint32_t address, uint32_t value)
	   {
		 HAL_StatusTypeDef flash_ok = HAL_ERROR;
		 while (flash_ok != HAL_OK)
		 {
		   flash_ok = HAL_FLASH_Unlock();
		 }
		 flash_ok = HAL_ERROR;
		 while (flash_ok != HAL_OK)
		 {
		 flash_ok = HAL_FLASHEx_Erase(FLASH_TYPEERASE_PAGES, &address);
		 }
		 flash_ok = HAL_ERROR;
		 while (flash_ok != HAL_OK)
		 {
		   flash_ok = HAL_FLASH_Program (FLASH_TYPEPROGRAM_WORD, address, value);
		 }
		 flash_ok = HAL_ERROR;
		 while (flash_ok != HAL_OK)
		 {
		   flash_ok = HAL_FLASH_Lock ();
		 }
	   }

	uint32_t readFromEEPROM (uint32_t address)
	{
	  return (*(__IO uint32_t *)address);
	}

/* USER CODE END 4 */

void Error_Handler(void)
{
}

/************************ (C) COPYRIGHT STMicroelectronics *****END OF FILE****/
